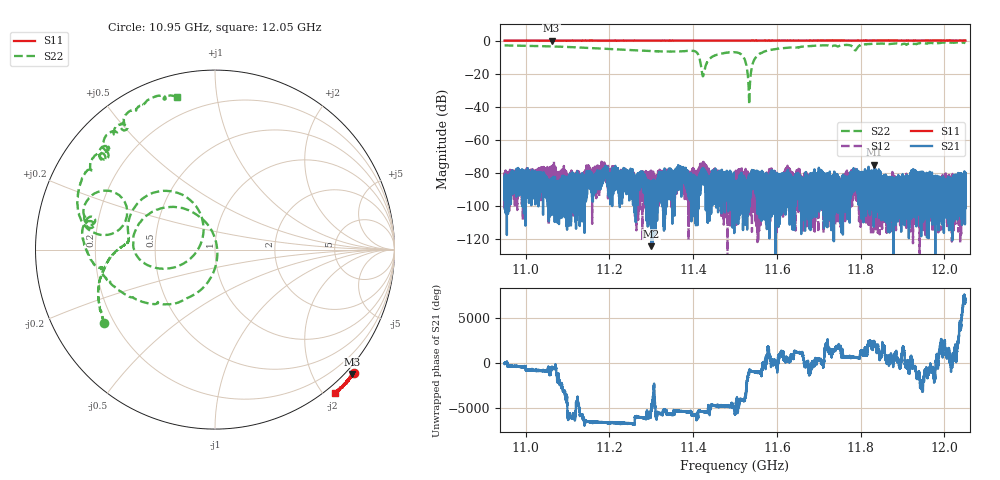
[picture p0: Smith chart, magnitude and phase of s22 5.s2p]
!Agilent Technologies,E8362C,MY49020356,A.09.42.23
!Agilent E8362C: A.09.42.23
!Date: Saturday, September 11, 2021 04:14:22
!Correction: S11(Full 2 Port(1,2))
!S21(Full 2 Port(1,2))
!S12(Full 2 Port(1,2))
!S22(Full 2 Port(1,2))
!S2P File: Measurements: S11, S21, S12, S22:
# Hz S  MA  R 50
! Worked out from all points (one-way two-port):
!   32001 points, 10.95 GHz to 12.05 GHz, reference 50 ohm
!   highest |S21| = -74.98 dB at 11.83 GHz (marker M1); lowest = -124.4 dB at 11.3 GHz (marker M2)
!   lowest |S11| = 0.3 dB at 11.06 GHz (marker M3)
!   |S11| at or under -10 dB: nowhere
!   |S22| runs from -38.4 to -0.7 dB; largest |S21 - S12| = 0.00021
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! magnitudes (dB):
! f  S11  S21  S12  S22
! 10.95 GHz  0.3  -87.6  -80.5  -2.6
! 11.06 GHz  0.3  -85.4  -76.7  -3.2
! 11.13 GHz  0.3  -95.5  -88.8  -3.9
! 11.19 GHz  0.3  -80.1  -75.4  -4.6
! 11.3 GHz  0.3  -124.4  -93.6  -6.0
! 11.32 GHz  0.3  -93.8  -86.5  -6.2
! 11.4 GHz  0.3  -86.0  -82.4  -6.1
! 11.41 GHz  0.3  -92.1  -86.5  -8.1
! 11.42 GHz  0.3  -80.7  -78.1  -20.9
! 11.45 GHz  0.3  -87.5  -81.2  -9.5
! 11.5 GHz  0.4  -90.4  -91.2  -6.8
! 11.52 GHz  0.4  -98.4  -83.7  -9.8
! 11.53 GHz  0.3  -89.6  -84.4  -20.6
! 11.53 GHz  0.4  -85.3  -84.9  -36.4
! 11.55 GHz  0.3  -84.9  -86.6  -11.7
! 11.56 GHz  0.3  -85.6  -89.5  -7.4
! 11.68 GHz  0.4  -84.6  -90.5  -2.9
! 11.77 GHz  0.3  -92.2  -91.4  -2.3
! 11.79 GHz  0.3  -82.4  -84.1  -5.6
! 11.83 GHz  0.4  -75.0  -100.6  -1.6
! 11.87 GHz  0.4  -87.7  -106.8  -1.8
! 12.05 GHz  0.4  -89.2  -88.8  -1.2
